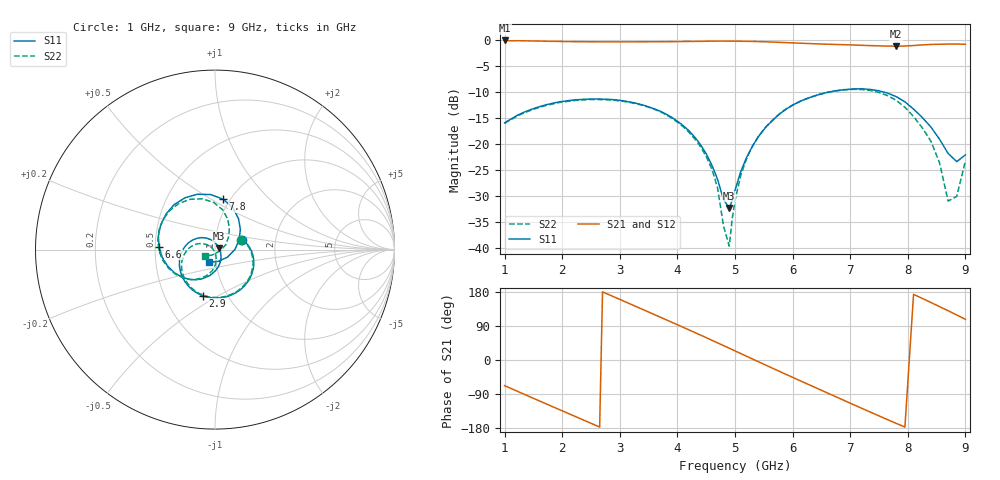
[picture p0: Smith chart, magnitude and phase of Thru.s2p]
! Created on 9/7/2020 4:12:41 PM
! Agilent Nonlinear Vector Network Analyzer (NVNA) Version 02.04.05
! S-Parameter data
! freq S11 S21 S12 S22
# Hz S RI R 50
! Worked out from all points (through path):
!   101 points, 1 GHz to 9 GHz, reference 50 ohm
!   highest |S21| = -0.15 dB at 1 GHz (marker M1); lowest = -1.2 dB at 7.8 GHz (marker M2)
!   group delay of S21, straight-line fit = 189 ps
!   lowest |S11| = -32.3 dB at 4.9 GHz (marker M3), VSWR 1.05, Z = 52.4 + j0.671 ohm
!   |S11| at or under -10 dB: start of sweep to 6.646 GHz; 7.57 GHz to end of sweep
!   |S22| runs from -39.6 to -9.5 dB; largest |S21 - S12| = 0.0087
!   S11 on the Smith chart (normalised r, x): 1 GHz: 1.34, +0.15; 2.9 GHz: 0.77, -0.43; 6.6 GHz: 0.52, +0.02; 7.8 GHz: 0.93, +0.57; 9 GHz: 0.92, -0.13
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1e9  0.1498 0.055  0.3725 -0.9099  0.3738 -0.9139  0.1475 0.0552
1.65e9  0.2158 -0.0855  -0.3483 -0.9046  -0.3495 -0.9072  0.2112 -0.0879
2.35e9  0.1021 -0.2477  -0.8816 -0.3709  -0.8857 -0.3717  0.0984 -0.2455
2.9e9  -0.0683 -0.257  -0.9274 0.2225  -0.9307 0.2245  -0.0618 -0.2555
3.7e9  -0.1978 -0.0593  -0.3761 0.8785  -0.377 0.8826  -0.1866 -0.0822
4.1e9  -0.1449 0.0402  0.0619 0.9583  0.0634 0.962  -0.1466 0.00648
4.5e9  -0.0486 0.0645  0.4988 0.8284  0.5021 0.831  -0.0683 0.0333
4.7e9  -0.00618 0.0449  0.6849 0.6859  0.6881 0.687  -0.0311 0.0205
4.9e9  0.0235 0.0064  0.8296 0.5003  0.8335 0.5004  -0.00401 -0.00972
5e9  0.0317 -0.0172  0.8841 0.3947  0.8877 0.3942  0.0039 -0.0285
5.2e9  0.0299 -0.068  0.9507 0.1676  0.9539 0.1662  0.00487 -0.0719
5.5e9  -0.0178 -0.136  0.9381 -0.1841  0.9408 -0.1868  -0.0326 -0.1344
6e9  -0.1767 -0.1567  0.6504 -0.667  0.6503 -0.6712  -0.1757 -0.1576
6.45e9  -0.2946 -0.042  0.2133 -0.8856  0.2116 -0.8888  -0.2914 -0.0594
6.6e9  -0.3122 0.0165  0.0524 -0.9038  0.0508 -0.906  -0.3121 -0.00756
7.05e9  -0.2726 0.1982  -0.4078 -0.7911  -0.41 -0.7915  -0.2902 0.1662
7.8e9  0.0451 0.281  -0.8458 -0.1912  -0.8474 -0.1895  -0.00611 0.2621
8.4e9  0.1345 0.0567  -0.7933 0.4257  -0.7932 0.4284  0.0768 0.0745
8.55e9  0.1114 0.000963  -0.7018 0.5693  -0.701 0.5707  0.0604 0.0276
8.7e9  0.0696 -0.042  -0.5838 0.6951  -0.5831 0.6971  0.0274 -0.00734
8.85e9  0.0198 -0.0649  -0.4373 0.7964  -0.4363 0.7981  -0.0126 -0.0289
9e9  -0.0348 -0.0706  -0.2716 0.8624  -0.2701 0.8642  -0.058 -0.0374
